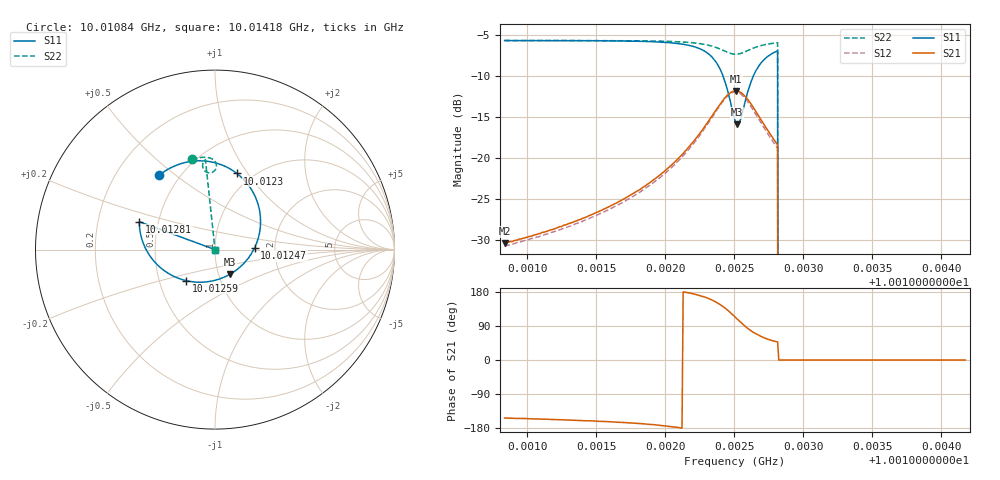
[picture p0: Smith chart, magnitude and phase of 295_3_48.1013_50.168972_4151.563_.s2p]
#  HZ  S  RI  R  50.00
! Rohde & Schwarz Vector Network Analyzer
! Rohde-Schwarz,ZNB20-2Port,1311601062101988,3.16
! Created: UTC 12/23/2023, 4:04:11 AM
! freq[Hz]  re:S11  im:S11  re:S21  im:S21  re:S12  im:S12  re:S22  im:S22
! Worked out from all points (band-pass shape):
!   401 points, 10.01084 GHz to 10.01418 GHz, reference 50 ohm
!   highest |S21| = -11.81 dB at 10.01251 GHz (marker M1); lowest = -30.4 dB at 10.01084 GHz (marker M2)
!   |S21| within 3 dB of the highest: 10.01234 GHz to 10.01268 GHz (333.9 kHz wide, 0.00333 % of centre)
!   lowest |S11| = -15.9 dB at 10.01252 GHz (marker M3), VSWR 1.38, Z = 56.7 - j16 ohm
!   |S11| at or under -10 dB: 10.01242 GHz to 10.01264 GHz (220 kHz wide, 0.0022 % of centre); 10.01281 GHz to end of sweep
!   |S22| runs from - to -5.7 dB; largest |S21 - S12| = 0.013
!   S11 on the Smith chart (normalised r, x): 10.01084 GHz: 0.39, +0.44; 10.0123 GHz: 0.85, +0.89; 10.01247 GHz: 1.57, +0.03; 10.01259 GHz: 0.68, -0.25; 10.01281 GHz: 0.39, +0.15; 10.01418 GHz: 1.00, +0.00
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1.0010836e10  -0.3137 0.4134  -0.0271 -0.0137  -0.0252 -0.0147  -0.1295 0.5034
1.0011395e10  -0.2555 0.4511  -0.0402 -0.0147  -0.0378 -0.0163  -0.0904 0.5117
1.0011696e10  -0.205 0.4738  -0.0543 -0.0147  -0.0514 -0.0168  -0.0668 0.5143
1.0011955e10  -0.1307 0.4919  -0.0774 -0.011  -0.0738 -0.0149  -0.0427 0.5134
1.0012147e10  -0.0266 0.4897  -0.1107 0.00246  -0.107 -0.00433  -0.0203 0.5075
1.0012297e10  0.1217 0.4245  -0.1546 0.042  -0.153 0.0322  0.000897 0.4901
1.0012397e10  0.2396 0.2538  -0.1774 0.1173  -0.1803 0.1058  0.0079 0.4615
1.0012439e10  0.2526 0.1253  -0.1684 0.1648  -0.1731 0.155  0.00198 0.4452
1.0012472e10  0.2209 0.0102  -0.1439 0.2041  -0.15 0.1954  -0.00915 0.434
1.0012506e10  0.1397 -0.0972  -0.1027 0.2352  -0.109 0.2275  -0.0251 0.428
1.0012514e10  0.1142 -0.1179  -0.0911 0.24  -0.0966 0.2329  -0.0296 0.4277
1.0012523e10  0.0832 -0.1379  -0.0779 0.2441  -0.0845 0.2367  -0.034 0.4276
1.0012548e10  -0.00822 -0.1734  -0.0418 0.2476  -0.0465 0.2408  -0.0465 0.4311
1.0012589e10  -0.1621 -0.1727  0.0157 0.2322  0.0105 0.2252  -0.0616 0.4437
1.0012631e10  -0.2808 -0.1186  0.0546 0.2008  0.0468 0.1947  -0.0686 0.4594
1.0012681e10  -0.3652 -0.0312  0.0766 0.1612  0.0693 0.1563  -0.0683 0.4757
1.0012798e10  -0.4214 0.1378  0.0826 0.0953  0.0754 0.0938  -0.0554 0.4991
1.0012815e10  -0.4219 0.1554  0.0812 0.089  0.0745 0.0875  -0.0534 0.5011
1.001284e10  0 0  0 0  0 0  0 0
1.0013065e10  0 0  0 0  0 0  0 0
1.0013625e10  0 0  0 0  0 0  0 0
1.0014176e10  0 0  0 0  0 0  0 0
